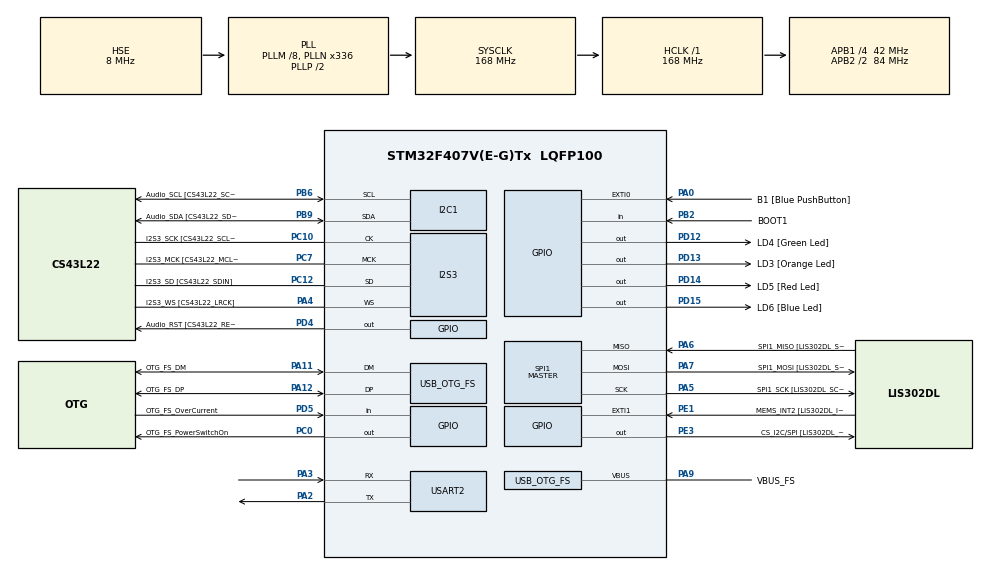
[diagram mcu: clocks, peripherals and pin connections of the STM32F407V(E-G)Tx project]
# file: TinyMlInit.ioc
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EdgeImpulse.STM32Guesture.1.0.2.MachineLearningCcSTM32GuestureJjCore=true
I2S3.AudioFreq-Half_Duplex_Master=I2S_AUDIOFREQ_96K
I2S3.ErrorAudioFreq=-2.34 %
I2S3.ErrorAudioFreq-Half_Duplex_Master=0.8 %
I2S3.FullDuplexMode=I2S_FULLDUPLEXMODE_DISABLE
I2S3.Instance=SPI$Index
I2S3.RealAudioFreq=93.75 KHz
I2S3.RealAudioFreq-Half_Duplex_Master=96.774 KHz
I2S3.VirtualMode=I2S_MODE_MASTER
Mcu.Family=STM32F4
Mcu.Name=STM32F407V(E-G)Tx
Mcu.Package=LQFP100
NVIC.OTG_FS_IRQn=true\:0\:0\:false\:false\:true\:true\:true\:true
NVIC.PriorityGroup=NVIC_PRIORITYGROUP_0
NVIC.USART2_IRQn=true\:0\:0\:false\:false\:true\:true\:true\:true
PA0-WKUP.GPIO_Label=B1 [Blue PushButton]
PA0-WKUP.GPIO_ModeDefaultEXTI=GPIO_MODE_EVT_RISING
PA0-WKUP.GPIO_PuPd=GPIO_NOPULL
PA0-WKUP.Signal=GPXTI0
PA10.GPIO_Label=OTG_FS_ID
PA10.GPIO_Mode=GPIO_MODE_AF_PP
PA10.GPIO_PuPd=GPIO_NOPULL
PA10.GPIO_Speed=GPIO_SPEED_FREQ_LOW
PA10.Signal=USB_OTG_FS_ID
PA11.GPIO_Label=OTG_FS_DM
PA11.GPIO_Mode=GPIO_MODE_AF_PP
PA11.GPIO_PuPd=GPIO_NOPULL
PA11.GPIO_Speed=GPIO_SPEED_FREQ_LOW
PA11.Mode=Host_Only
PA11.Signal=USB_OTG_FS_DM
PA12.GPIO_Label=OTG_FS_DP
PA12.GPIO_Mode=GPIO_MODE_AF_PP
PA12.GPIO_PuPd=GPIO_NOPULL
PA12.GPIO_Speed=GPIO_SPEED_FREQ_LOW
PA12.Mode=Host_Only
PA12.Signal=USB_OTG_FS_DP
PA13.GPIO_Label=SWDIO
PA13.Mode=Serial_Wire
PA13.Signal=SYS_JTMS-SWDIO
PA14.GPIO_Label=SWCLK
PA14.Mode=Serial_Wire
PA14.Signal=SYS_JTCK-SWCLK
PA2.Mode=Asynchronous
PA2.Signal=USART2_TX
PA3.Mode=Asynchronous
PA3.Signal=USART2_RX
PA4.GPIO_Label=I2S3_WS [CS43L22_LRCK]
PA4.GPIO_Mode=GPIO_MODE_AF_PP
PA4.GPIO_PuPd=GPIO_NOPULL
PA4.GPIO_Speed=GPIO_SPEED_FREQ_LOW
PA4.Mode=Half_Duplex_Master
PA4.Signal=I2S3_WS
PA5.GPIO_Label=SPI1_SCK [LIS302DL_SCL/SPC]
PA5.GPIO_Mode=GPIO_MODE_AF_PP
PA5.GPIO_PuPd=GPIO_NOPULL
PA5.GPIO_Speed=GPIO_SPEED_FREQ_LOW
PA5.Mode=Full_Duplex_Master
PA5.Signal=SPI1_SCK
PA6.GPIO_Label=SPI1_MISO [LIS302DL_SDO]
PA6.GPIO_Mode=GPIO_MODE_AF_PP
PA6.GPIO_PuPd=GPIO_NOPULL
PA6.GPIO_Speed=GPIO_SPEED_FREQ_LOW
PA6.Mode=Full_Duplex_Master
PA6.Signal=SPI1_MISO
PA7.GPIO_Label=SPI1_MOSI [LIS302DL_SDA/SDI/SDO]
PA7.GPIO_Mode=GPIO_MODE_AF_PP
PA7.GPIO_PuPd=GPIO_NOPULL
PA7.GPIO_Speed=GPIO_SPEED_FREQ_LOW
PA7.Mode=Full_Duplex_Master
PA7.Signal=SPI1_MOSI
PA9.GPIO_Label=VBUS_FS
PA9.GPIO_Mode=GPIO_MODE_INPUT
PA9.GPIO_PuPd=GPIO_NOPULL
PA9.Mode=Activate_VBUS
PA9.Signal=USB_OTG_FS_VBUS
PB10.GPIO_Label=CLK_IN [MP45DT02_CLK]
PB10.GPIO_Mode=GPIO_MODE_AF_PP
PB10.GPIO_PuPd=GPIO_NOPULL
PB10.GPIO_Speed=GPIO_SPEED_FREQ_LOW
PB10.Signal=I2S2_CK
PB2.GPIO_Label=BOOT1
PB2.GPIO_Mode=GPIO_MODE_INPUT
PB2.GPIO_PuPd=GPIO_NOPULL
PB2.Signal=GPIO_Input
PB3.GPIO_Label=SWO
PB3.Signal=SYS_JTDO-SWO
PB6.GPIO_Label=Audio_SCL [CS43L22_SCL]
PB6.GPIO_Mode=GPIO_MODE_AF_OD
PB6.GPIO_Pu=GPIO_PULLUP
PB6.GPIO_PuPd=GPIO_NOPULL
PB6.GPIO_Speed=GPIO_SPEED_FREQ_LOW
PB6.Mode=I2C
PB6.Signal=I2C1_SCL
PB9.GPIO_Label=Audio_SDA [CS43L22_SDA]
PB9.GPIO_Mode=GPIO_MODE_AF_OD
PB9.GPIO_Pu=GPIO_PULLUP
PB9.GPIO_PuPd=GPIO_NOPULL
PB9.GPIO_Speed=GPIO_SPEED_FREQ_LOW
PB9.Mode=I2C
PB9.Signal=I2C1_SDA
PC0.GPIO_Label=OTG_FS_PowerSwitchOn
PC0.GPIO_PuPd=GPIO_NOPULL
PC0.GPIO_Speed=GPIO_SPEED_FREQ_LOW
PC0.PinState=GPIO_PIN_SET
PC0.Signal=GPIO_Output
PC10.GPIO_Label=I2S3_SCK [CS43L22_SCLK]
PC10.GPIO_Mode=GPIO_MODE_AF_PP
PC10.GPIO_PuPd=GPIO_NOPULL
PC10.GPIO_Speed=GPIO_SPEED_FREQ_LOW
PC10.Mode=Half_Duplex_Master
PC10.Signal=I2S3_CK
PC12.GPIO_Label=I2S3_SD [CS43L22_SDIN]
PC12.GPIO_Mode=GPIO_MODE_AF_PP
PC12.GPIO_PuPd=GPIO_NOPULL
PC12.GPIO_Speed=GPIO_SPEED_FREQ_LOW
PC12.Mode=Half_Duplex_Master
PC12.Signal=I2S3_SD
PC14-OSC32_IN.GPIO_Label=PC14-OSC32_IN
PC14-OSC32_IN.Mode=LSE-External-Oscillator
PC14-OSC32_IN.Signal=RCC_OSC32_IN
PC15-OSC32_OUT.GPIO_Label=PC15-OSC32_OUT
PC15-OSC32_OUT.Mode=LSE-External-Oscillator
PC15-OSC32_OUT.Signal=RCC_OSC32_OUT
PC3.GPIO_Label=PDM_OUT [MP45DT02_DOUT]
PC3.GPIO_Mode=GPIO_MODE_AF_PP
PC3.GPIO_PuPd=GPIO_NOPULL
PC3.GPIO_Speed=GPIO_SPEED_FREQ_LOW
PC3.Signal=I2S2_SD
PC7.GPIO_Label=I2S3_MCK [CS43L22_MCLK]
PC7.GPIO_Mode=GPIO_MODE_AF_PP
PC7.GPIO_PuPd=GPIO_NOPULL
PC7.GPIO_Speed=GPIO_SPEED_FREQ_LOW
PC7.Mode=Master_Clock_Activated
PC7.Signal=I2S3_MCK
PD12.GPIO_Label=LD4 [Green Led]
PD12.GPIO_PuPd=GPIO_NOPULL
PD12.GPIO_Speed=GPIO_SPEED_FREQ_LOW
PD12.Signal=GPIO_Output
PD13.GPIO_Label=LD3 [Orange Led]
PD13.GPIO_PuPd=GPIO_NOPULL
PD13.GPIO_Speed=GPIO_SPEED_FREQ_LOW
PD13.Signal=GPIO_Output
PD14.GPIO_Label=LD5 [Red Led]
PD14.GPIO_PuPd=GPIO_NOPULL
PD14.GPIO_Speed=GPIO_SPEED_FREQ_LOW
PD14.Signal=GPIO_Output
PD15.GPIO_Label=LD6 [Blue Led]
PD15.GPIO_PuPd=GPIO_NOPULL
PD15.GPIO_Speed=GPIO_SPEED_FREQ_LOW
PD15.Signal=GPIO_Output
PD4.GPIO_Label=Audio_RST [CS43L22_RESET]
PD4.GPIO_PuPd=GPIO_NOPULL
PD4.GPIO_Speed=GPIO_SPEED_FREQ_LOW
PD4.Signal=GPIO_Output
PD5.GPIO_Label=OTG_FS_OverCurrent
PD5.GPIO_Mode=GPIO_MODE_INPUT
PD5.GPIO_PuPd=GPIO_NOPULL
PD5.Signal=GPIO_Input
PE1.GPIO_Label=MEMS_INT2 [LIS302DL_INT2]
PE1.GPIO_ModeDefaultEXTI=GPIO_MODE_EVT_RISING
PE1.GPIO_PuPd=GPIO_NOPULL
PE1.Signal=GPXTI1
PE3.GPIO_Label=CS_I2C/SPI [LIS302DL_CS_I2C/SPI]
PE3.GPIO_PuPd=GPIO_NOPULL
PE3.GPIO_Speed=GPIO_SPEED_FREQ_LOW
PE3.Signal=GPIO_Output
PH0-OSC_IN.GPIO_Label=PH0-OSC_IN
PH0-OSC_IN.Mode=HSE-External-Oscillator
PH0-OSC_IN.Signal=RCC_OSC_IN
PH1-OSC_OUT.GPIO_Label=PH1-OSC_OUT
PH1-OSC_OUT.Mode=HSE-External-Oscillator
PH1-OSC_OUT.Signal=RCC_OSC_OUT
ProjectManager.HeapSize=0x4000
ProjectManager.StackSize=0x8000
ProjectManager.TargetToolchain=STM32CubeIDE
RCC.48MHZClocksFreq_Value=48000000
RCC.AHBFreq_Value=168000000
RCC.APB1CLKDivider=RCC_HCLK_DIV4
RCC.APB1Freq_Value=42000000
RCC.APB1TimFreq_Value=84000000
RCC.APB2CLKDivider=RCC_HCLK_DIV2
RCC.APB2Freq_Value=84000000
RCC.APB2TimFreq_Value=168000000
RCC.CortexFreq_Value=168000000
RCC.HCLKFreq_Value=168000000
RCC.HSE_VALUE=8000000
RCC.HSI_VALUE=16000000
RCC.PLLM=8
RCC.PLLN=336
RCC.PLLQ=7
RCC.SYSCLKFreq_VALUE=168000000
RCC.SYSCLKSource=RCC_SYSCLKSOURCE_PLLCLK
RCC.VCOOutputFreq_Value=336000000
SPI1.BaudRatePrescaler-Full_Duplex_Master=SPI_BAUDRATEPRESCALER_2
SPI1.CalculateBaudRate-Full_Duplex_Master=42.0 MBits/s
SPI1.Direction=SPI_DIRECTION_2LINES
SPI1.Mode=SPI_MODE_MASTER
SPI1.Mode-Full_Duplex_Master=SPI_MODE_MASTER
SPI1.VirtualType=VM_MASTER
USART2.VirtualMode=VM_ASYNC
USB_HOST.BSP.number=1
USB_HOST.USBH_HandleTypeDef-CDC_FS=hUsbHostFS
USB_HOST.VirtualModeFS=Cdc
USB_HOST0.BSP.STBoard=false
USB_HOST0.BSP.api=Unknown
USB_HOST0.BSP.instance=PC0
USB_HOST0.BSP.ip=GPIO
USB_HOST0.BSP.mode=Output
USB_HOST0.BSP.name=Drive_VBUS_FS
USB_HOST0.BSP.solution=PC0
USB_OTG_FS.VirtualMode=Host_Only
USB_OTG_FS.phy_itface=HCD_PHY_EMBEDDED
VP_CRC_VS_CRC.Mode=CRC_Activate
VP_EdgeImpulse.STM32Guesture_VS_STM32GuestureJjMachineLearning_1.0.2_1.0.2.Mode=STM32GuestureJjMachineLearning
VP_USB_HOST_VS_USB_HOST_CDC_FS.Mode=CDC_FS
board=STM32F407G-DISC1

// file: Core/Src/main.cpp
/* USER CODE BEGIN Header */
/**
  ******************************************************************************
  * @file           : main.c
  * @brief          : Main program body
  ******************************************************************************
  * @attention
  *
  * Copyright (c) 2025 STMicroelectronics.
  * All rights reserved.
  *
  * This software is licensed under terms that can be found in the LICENSE file
  * in the root directory of this software component.
  * If no LICENSE file comes with this software, it is provided AS-IS.
  *
  ******************************************************************************
  */
/* USER CODE END Header */
#include "main.h"
#include "usb_host.h"

/* USER CODE BEGIN Includes */
#include <stdarg.h>
#include "edge-impulse-sdk/classifier/ei_run_classifier.h"

using namespace ei;

// paste the raw features here
static const float features[] = { -40.9800, -40.8900, 107.1500, -44.7600, -43.9100, 110.8100, -37.5900,
		-41.4700, 107.1800, -39.4200, -42.7200, 109.5900, -38.0800, -41.7700, 110.6600, -35.2400, -44.3400,
		107.1500, -43.8500, -45.8300, 111.2700, -36.5200, -44.5800, 110.8700, -45.1600, -48.0900, 114.9600,
		-37.1600, -46.6600, 114.6300, -39.9100, -46.6000, 116.1800, -31.6000, -45.3100, 112.2400, -38.4400,
		-46.8100, 115.7900, -44.1800, -50.4700, 119.0200, -52.8200, -51.5100, 121.5000, -53.7400, -53.0100,
		123.8500, -49.6800, -49.1000, 121.9800, -46.6900, -46.6000, 121.9200, -53.9200, -46.7800, 122.3800,
		-51.1500, -44.4000, 127.1800, -35.8500, -40.0900, 121.5300, -48.0300, -35.3600, 120.2400, -55.4200,
		-46.2000, 128.8500, -60.3700, -50.3200, 126.9000, -41.5300, -43.7600, 134.3500, -13.5300, -28.0000,
		120.0600, 4.1200, -20.7900, 115.3300, 18.7800, -21.3700, 112.5500, 36.5200, -22.4700, 109.4700, 40.9500,
		-26.5600, 113.3700, 50.8400, -26.0200, 111.5700, 74.3500, -17.4400, 106.3500, 130.5300, 3.4800, 92.6100,
		141.2200, 19.0800, 75.0500, 117.7100, 14.0500, 69.6800, 121.0700, 13.3700, 73.7700, 60.1800, -29.7400,
		64.7000, 10.1100, -52.2700, 71.7600, 5.7100, -61.7700, 62.7500, -45.1900, -69.5300, 65.5600, -98.9900,
		-76.7900, 67.9400, -117.8600, -65.5600, 76.4600, -152.3400, -70.0800, 88.7600, -167.1100, -62.7200, 94.9300,
		-177.8600, -57.1900, 101.1600, -194.1700, -58.0200, 114.0800, -199.4500, -64.7000, 116.5800, -195.6000, -77.9200,
		117.0100, -185.5300, -93.7400, 124.5800, -159.8800, -99.6000, 115.4200, -157.3700, -99.1800, 106.1100, -162.2000,
		-99.2100, 111.7600, -181.3100, -101.5000, 120.3700, -153.6200, -91.5400, 120.6100, -134.5600, -86.2300, 102.9600,
		-116.9800, -76.9500, 102.5000, -87.6300, -58.1700, 88.7600, -59.8800, -43.8500, 81.1600, -55.6900, -26.5300,
		78.7200, -19.3900, -8.1200, 74.0800, 14.4400, 6.9900, 73.0400, 45.8300, 14.3200, 72.8900, 66.8700, 16.7600,
		72.2700, 89.4700, 10.7800, 78.1400, 102.3800, -2.8400, 77.6500, 119.8200, 6.3500, 78.4400, 160.3100, 20.3400,
		64.7900, 189.8900, 25.8300, 57.1300, 154.6000, 31.2100, 48.4300, 125.9500, 5.1600, 54.8700, 85.1900, -24.1800,
		54.6300, 46.2300, -43.0800, 49.3100, 4.6400, -69.5900, 47.9700, -56.5200, -95.0800, 66.5300, -92.1500, -107.5100,
		71.8800, -124.8200, -104.6400, 81.2200, -145.7100, -84.2700, 83.0800, -170.3500, -66.7800, 84.4600, -199.1100,
		-52.5200, 96.0300, -220.8200, -46.1700, 106.0500, -231.9100, -46.5300, 116.0900, -224.0000, -46.0800, 112.4300,
		-198.5000, -51.3000, 106.9600, -164.3100, -53.7700, 101.7400, -144.1200, -55.1800, 98.7200, -126.3500, -58.9000,
		98.1700, -114.4700, -62.0500, 99.2700, -111.6300, -65.3700, 100.4900, -106.5300, -66.2600, 99.8200, -102.0200,
		-62.1700, 101.7700, -81.0400, -52.2400, 96.0000, -78.6600, -43.8500, 93.4700, -76.3400, -40.8500, 91.4200,
		-72.0300, -43.8500, 96.1800, -76.5200, -43.6900, 95.2700, -74.6900, -43.6600, 101.6800, -62.2900, -42.1400,
		100.6400, -54.5600, -36.5800, 96.7000, -61.7100, -40.3400, 101.4000, -58.7200, -41.9200, 103.5400, -43.1800,
		-42.2000, 103.5700, -37.9200, -36.4900, 100.3700, -36.1200, -38.7200, 101.8000, -36.5800, -37.5300, 106.2900,
		-26.1700, -37.8300, 103.6900, -25.8000, -38.3500, 104.1800, -36.5200, -44.7300, 107.1500, -25.0400, -42.4400,
		108.4900, -20.4300, -44.3700, 107.3300, -22.7200, -46.9000, 105.5900, -24.5500, -49.6500, 108.3700, -26.3500,
		-51.1500, 110.8400, -26.7200, -50.6900, 112.0900, -30.9300, -53.0400, 112.8200, -31.3600, -53.5000, 113.7100,
		-31.6300, -52.3100, 112.1500, -30.9300, -49.5900, 111.4500, -32.8900, -44.9200, 112.9200, -35.6300, -44.6700,
		113.0700, -38.4400, -44.5500, 113.0100, -39.1500, -46.4100, 112.5800, -41.3700, -44.9200, 112.4000, -45.0700,
		-45.9500, 113.3100, -46.5000, -46.9000, 113.8300, -53.4400, -47.6600, 115.5700, -53.6800, -46.6300, 116.1800,
		-48.7000, -43.2100, 114.2600, -49.0700, -45.5600, 113.7100, -45.5300, -45.3100, 114.0800, -45.8900, -43.8500,
		113.5000, -45.3100, -43.6900, 112.9200, -44.3400, -43.7900, 112.5200, -49.6800, -48.3100, 114.4400, -47.9400,
		-47.6600, 113.4400, -49.5900, -47.2700, 113.3400, -48.8900, -47.6300, 114.0200, -50.5300, -47.6600, 114.0800,
		-50.9300, -46.6600, 115.1100, -50.9300, -44.7900, 114.7200, -55.3000, -47.8500, 114.1400, -51.2400, -46.2600,
		114.2000, -47.9100, -45.8000, 112.5800, -47.6000, -46.1400, 113.1600, -48.7300, -46.9600, 112.9200, -47.2700,
		-47.8800, 114.0500, -44.4000, -46.3200, 112.4300, -46.9600, -48.0000, 112.4600, -52.5500, -50.0800, 113.4000,
		-47.4800, -47.6300, 111.7900, -48.3700, -50.1100, 112.7900, -47.4500, -51.5400, 112.1800, -47.7300, -51.5700,
		112.1200, -45.2200, -52.3700, 111.7600, -44.2100, -52.4000, 110.7800, -46.7800, -52.6700, 109.3100, -51.2700,
		-52.4000, 110.7200, -49.1600, -49.9500, 109.1900, -51.2700, -49.5900, 109.9800, -50.8400, -48.7000, 110.0800,
		-52.0900, -51.5100, 109.5600, -51.0500, -51.8800, 108.9800, -50.4400, -51.8800, 108.9200, -50.8100, -51.4800,
		107.7300, -48.8500, -49.1300, 107.8200, -48.9500, -49.3400, 105.5900, -49.1300, -49.4400, 105.1300, -47.0200,
		-49.6200, 104.0300, -47.3300, -50.6600, 103.5400, -48.1500, -53.1000, 102.6900, -49.5000, -52.8500, 102.2000,
		-47.5400, -51.3600, 98.6600, -54.3800, -54.0200, 100.1800, -49.4000, -51.1800, 98.1400, -47.7300, -49.6500, 97.5900,
		-44.0000, -50.8100, 96.8500, -43.1800, -53.7100, 96.1200, -40.5200, -52.2700, 96.0600, -40.4600, -52.0000, 95.0800,
		-40.2400, -52.3100, 96.8200, -43.3300, -53.2200, 96.3700, -42.8100, -53.4400, 97.1000, -43.9700, -53.0400, 97.5900,
		-37.1300, -48.2100, 97.9200, -42.0800, -49.3700, 101.2500, -40.9800, -48.2100, 101.2500, -46.3200, -50.3200, 106.6900,
		-45.5900, -50.8400, 107.4800, -47.0200, -50.4400, 108.2700, -48.9200, -52.0900, 109.8000, -47.8800, -50.2900,
		110.6000, -48.8200, -49.7700, 110.9000, -51.5100, -49.5600, 111.2400, -50.4700, -49.9200, 110.9000, -56.7000,
		-51.6900, 112.6700, -60.4000, -52.0600, 114.4700, -57.2200, -50.7500, 115.4800, -54.2000, -47.3900, 115.0500,
		-54.2600, -44.8200, 114.7800, -58.6600, -45.1000, 115.4500, -66.3500, -46.1700, 116.1200, -66.8100, -42.9900,
		116.6100, -67.9700, -39.7300, 115.2400, -65.7700, -36.8500, 115.6000, -61.2500, -35.5100, 115.1500, -56.7300,
		-32.6100, 114.0800, -54.7800, -30.4400, 113.5000, -52.1800, -29.7400, 112.7000, -50.7500, -31.4800, 113.2800,
		-51.4200, -29.3400, 113.1900, -50.8700, -29.6500, 113.7700, -59.2700, -33.4400, 115.6300, -64.9500, -35.2700,
		117.6200, -66.9300, -35.2100, 119.2400, -66.2300, -33.2200, 119.3600, -59.7600, -30.1700, 119.3300, -60.8900,
		-27.7600, 118.1700, -57.8900, -26.3200, 117.5300, -49.6500, -20.8900, 117.6500, -49.9200, -17.8900, 118.9000,
		-49.9200, -14.1700, 119.4800, -51.9400, -14.9000, 121.7400, -58.0500, -19.6600, 125.2500
};

int get_feature_data(size_t offset, size_t length, float *out_ptr) {
    memcpy(out_ptr, features + offset, length * sizeof(float));
    return 0;
}

/* USER CODE END Includes */

CRC_HandleTypeDef hcrc;

I2C_HandleTypeDef hi2c1;

I2S_HandleTypeDef hi2s3;

SPI_HandleTypeDef hspi1;

UART_HandleTypeDef huart2;

void SystemClock_Config(void);
static void MX_GPIO_Init(void);
static void MX_I2C1_Init(void);
static void MX_I2S3_Init(void);
static void MX_SPI1_Init(void);
static void MX_CRC_Init(void);
void MX_USB_HOST_Process(void);
void MX_USART2_UART_Init(void);

/* USER CODE BEGIN 0 */

void vprint(const char *fmt, va_list argp)
{
    char string[200];
    if(0 < vsprintf(string, fmt, argp)) // build string
    {
        HAL_UART_Transmit(&huart2, (uint8_t*)string, strlen(string), 0xffffff); // send message via UART
    }
}

void ei_printf(const char *format, ...) {
    va_list myargs;
    va_start(myargs, format);
    vprint(format, myargs);
    va_end(myargs);
}

/* USER CODE END 0 */

int main(void)
{

  /* MCU Configuration--------------------------------------------------------*/

  /* Reset of all peripherals, Initializes the Flash interface and the Systick. */
  HAL_Init();

  /* USER CODE BEGIN Init */
  signal_t signal;
  signal.total_length = sizeof(features) / sizeof(features[0]);
  signal.get_data = &get_feature_data;

  /* USER CODE END Init */

  /* Configure the system clock */
  SystemClock_Config();

  /* Initialize all configured peripherals */
  MX_GPIO_Init();
  MX_I2C1_Init();
  MX_I2S3_Init();
  MX_SPI1_Init();
  MX_USB_HOST_Init();
  MX_CRC_Init();
  /* USER CODE BEGIN 2 */
  // Configure PA3(RX) and PA2(TX) for USART2
    MX_USART2_UART_Init();
  /* USER CODE END 2 */

    // Buffer to send through UART
    char msg[128];
    snprintf(msg, sizeof(msg), "Setup successfull\r\n");

    HAL_UART_Transmit(&huart2, (uint8_t*)msg, strlen(msg), 100);
  /* Infinite loop */
  while (1)
  {
    //MX_USB_HOST_Process();
	  ei_impulse_result_t result = { 0 };
	       EI_IMPULSE_ERROR res = run_classifier(&signal, &result, true);
	       ei_printf("run_classifier returned: %d\n", res);

	       ei_printf("Predictions (DSP: %d ms., Classification: %d ms., Anomaly: %d ms.): \n",
	           result.timing.dsp, result.timing.classification, result.timing.anomaly);

	       // print the predictions
	       ei_printf("[");
	       for (size_t ix = 0; ix < EI_CLASSIFIER_LABEL_COUNT; ix++) {
	     	  ei_printf_float(result.classification[ix].value);
	   #if EI_CLASSIFIER_HAS_ANOMALY == 1
	           ei_printf(", ");
	   #else
	           if (ix != EI_CLASSIFIER_LABEL_COUNT - 1) {
	               ei_printf(", ");
	           }
	   #endif
	       }
	   #if EI_CLASSIFIER_HAS_ANOMALY == 1
	       ei_printf_float(result.anomaly);
	   #endif
	       ei_printf("]\n\n\n");

	     HAL_Delay(5000);

  }
}

void SystemClock_Config(void)
{
  RCC_OscInitTypeDef RCC_OscInitStruct = {0};
  RCC_ClkInitTypeDef RCC_ClkInitStruct = {0};

  /** Configure the main internal regulator output voltage
  */
  __HAL_RCC_PWR_CLK_ENABLE();
  __HAL_PWR_VOLTAGESCALING_CONFIG(PWR_REGULATOR_VOLTAGE_SCALE1);

  /** Initializes the RCC Oscillators according to the specified parameters
  * in the RCC_OscInitTypeDef structure.
  */
  RCC_OscInitStruct.OscillatorType = RCC_OSCILLATORTYPE_HSE;
  RCC_OscInitStruct.HSEState = RCC_HSE_ON;
  RCC_OscInitStruct.PLL.PLLState = RCC_PLL_ON;
  RCC_OscInitStruct.PLL.PLLSource = RCC_PLLSOURCE_HSE;
  RCC_OscInitStruct.PLL.PLLM = 8;
  RCC_OscInitStruct.PLL.PLLN = 336;
  RCC_OscInitStruct.PLL.PLLP = RCC_PLLP_DIV2;
  RCC_OscInitStruct.PLL.PLLQ = 7;
  if (HAL_RCC_OscConfig(&RCC_OscInitStruct) != HAL_OK)
  {
    Error_Handler();
  }

  /** Initializes the CPU, AHB and APB buses clocks
  */
  RCC_ClkInitStruct.ClockType = RCC_CLOCKTYPE_HCLK|RCC_CLOCKTYPE_SYSCLK
                              |RCC_CLOCKTYPE_PCLK1|RCC_CLOCKTYPE_PCLK2;
  RCC_ClkInitStruct.SYSCLKSource = RCC_SYSCLKSOURCE_PLLCLK;
  RCC_ClkInitStruct.AHBCLKDivider = RCC_SYSCLK_DIV1;
  RCC_ClkInitStruct.APB1CLKDivider = RCC_HCLK_DIV4;
  RCC_ClkInitStruct.APB2CLKDivider = RCC_HCLK_DIV2;

  if (HAL_RCC_ClockConfig(&RCC_ClkInitStruct, FLASH_LATENCY_5) != HAL_OK)
  {
    Error_Handler();
  }
}

static void MX_CRC_Init(void)
{

  hcrc.Instance = CRC;
  if (HAL_CRC_Init(&hcrc) != HAL_OK)
  {
    Error_Handler();
  }

}

static void MX_I2C1_Init(void)
{

  hi2c1.Instance = I2C1;
  hi2c1.Init.ClockSpeed = 100000;
  hi2c1.Init.DutyCycle = I2C_DUTYCYCLE_2;
  hi2c1.Init.OwnAddress1 = 0;
  hi2c1.Init.AddressingMode = I2C_ADDRESSINGMODE_7BIT;
  hi2c1.Init.DualAddressMode = I2C_DUALADDRESS_DISABLE;
  hi2c1.Init.OwnAddress2 = 0;
  hi2c1.Init.GeneralCallMode = I2C_GENERALCALL_DISABLE;
  hi2c1.Init.NoStretchMode = I2C_NOSTRETCH_DISABLE;
  if (HAL_I2C_Init(&hi2c1) != HAL_OK)
  {
    Error_Handler();
  }

}

static void MX_I2S3_Init(void)
{

  hi2s3.Instance = SPI3;
  hi2s3.Init.Mode = I2S_MODE_MASTER_TX;
  hi2s3.Init.Standard = I2S_STANDARD_PHILIPS;
  hi2s3.Init.DataFormat = I2S_DATAFORMAT_16B;
  hi2s3.Init.MCLKOutput = I2S_MCLKOUTPUT_ENABLE;
  hi2s3.Init.AudioFreq = I2S_AUDIOFREQ_96K;
  hi2s3.Init.CPOL = I2S_CPOL_LOW;
  hi2s3.Init.ClockSource = I2S_CLOCK_PLL;
  hi2s3.Init.FullDuplexMode = I2S_FULLDUPLEXMODE_DISABLE;
  if (HAL_I2S_Init(&hi2s3) != HAL_OK)
  {
    Error_Handler();
  }

}

static void MX_SPI1_Init(void)
{

  /* SPI1 parameter configuration*/
  hspi1.Instance = SPI1;
  hspi1.Init.Mode = SPI_MODE_MASTER;
  hspi1.Init.Direction = SPI_DIRECTION_2LINES;
  hspi1.Init.DataSize = SPI_DATASIZE_8BIT;
  hspi1.Init.CLKPolarity = SPI_POLARITY_LOW;
  hspi1.Init.CLKPhase = SPI_PHASE_1EDGE;
  hspi1.Init.NSS = SPI_NSS_SOFT;
  hspi1.Init.BaudRatePrescaler = SPI_BAUDRATEPRESCALER_2;
  hspi1.Init.FirstBit = SPI_FIRSTBIT_MSB;
  hspi1.Init.TIMode = SPI_TIMODE_DISABLE;
  hspi1.Init.CRCCalculation = SPI_CRCCALCULATION_DISABLE;
  hspi1.Init.CRCPolynomial = 10;
  if (HAL_SPI_Init(&hspi1) != HAL_OK)
  {
    Error_Handler();
  }

}

static void MX_GPIO_Init(void)
{
  GPIO_InitTypeDef GPIO_InitStruct = {0};

  /* GPIO Ports Clock Enable */
  __HAL_RCC_GPIOE_CLK_ENABLE();
  __HAL_RCC_GPIOC_CLK_ENABLE();
  __HAL_RCC_GPIOH_CLK_ENABLE();
  __HAL_RCC_GPIOA_CLK_ENABLE();
  __HAL_RCC_GPIOB_CLK_ENABLE();
  __HAL_RCC_GPIOD_CLK_ENABLE();

  /*Configure GPIO pin Output Level */
  HAL_GPIO_WritePin(CS_I2C_SPI_GPIO_Port, CS_I2C_SPI_Pin, GPIO_PIN_RESET);

  /*Configure GPIO pin Output Level */
  HAL_GPIO_WritePin(OTG_FS_PowerSwitchOn_GPIO_Port, OTG_FS_PowerSwitchOn_Pin, GPIO_PIN_SET);

  /*Configure GPIO pin Output Level */
  HAL_GPIO_WritePin(GPIOD, LD4_Pin|LD3_Pin|LD5_Pin|LD6_Pin
                          |Audio_RST_Pin, GPIO_PIN_RESET);

  /*Configure GPIO pin : CS_I2C_SPI_Pin */
  GPIO_InitStruct.Pin = CS_I2C_SPI_Pin;
  GPIO_InitStruct.Mode = GPIO_MODE_OUTPUT_PP;
  GPIO_InitStruct.Pull = GPIO_NOPULL;
  GPIO_InitStruct.Speed = GPIO_SPEED_FREQ_LOW;
  HAL_GPIO_Init(CS_I2C_SPI_GPIO_Port, &GPIO_InitStruct);

  /*Configure GPIO pin : OTG_FS_PowerSwitchOn_Pin */
  GPIO_InitStruct.Pin = OTG_FS_PowerSwitchOn_Pin;
  GPIO_InitStruct.Mode = GPIO_MODE_OUTPUT_PP;
  GPIO_InitStruct.Pull = GPIO_NOPULL;
  GPIO_InitStruct.Speed = GPIO_SPEED_FREQ_LOW;
  HAL_GPIO_Init(OTG_FS_PowerSwitchOn_GPIO_Port, &GPIO_InitStruct);

  /*Configure GPIO pin : PDM_OUT_Pin */
  GPIO_InitStruct.Pin = PDM_OUT_Pin;
  GPIO_InitStruct.Mode = GPIO_MODE_AF_PP;
  GPIO_InitStruct.Pull = GPIO_NOPULL;
  GPIO_InitStruct.Speed = GPIO_SPEED_FREQ_LOW;
  GPIO_InitStruct.Alternate = GPIO_AF5_SPI2;
  HAL_GPIO_Init(PDM_OUT_GPIO_Port, &GPIO_InitStruct);

  /*Configure GPIO pin : B1_Pin */
  GPIO_InitStruct.Pin = B1_Pin;
  GPIO_InitStruct.Mode = GPIO_MODE_EVT_RISING;
  GPIO_InitStruct.Pull = GPIO_NOPULL;
  HAL_GPIO_Init(B1_GPIO_Port, &GPIO_InitStruct);

  /*Configure GPIO pin : BOOT1_Pin */
  GPIO_InitStruct.Pin = BOOT1_Pin;
  GPIO_InitStruct.Mode = GPIO_MODE_INPUT;
  GPIO_InitStruct.Pull = GPIO_NOPULL;
  HAL_GPIO_Init(BOOT1_GPIO_Port, &GPIO_InitStruct);

  /*Configure GPIO pin : CLK_IN_Pin */
  GPIO_InitStruct.Pin = CLK_IN_Pin;
  GPIO_InitStruct.Mode = GPIO_MODE_AF_PP;
  GPIO_InitStruct.Pull = GPIO_NOPULL;
  GPIO_InitStruct.Speed = GPIO_SPEED_FREQ_LOW;
  GPIO_InitStruct.Alternate = GPIO_AF5_SPI2;
  HAL_GPIO_Init(CLK_IN_GPIO_Port, &GPIO_InitStruct);

  /*Configure GPIO pins : LD4_Pin LD3_Pin LD5_Pin LD6_Pin
                           Audio_RST_Pin */
  GPIO_InitStruct.Pin = LD4_Pin|LD3_Pin|LD5_Pin|LD6_Pin
                          |Audio_RST_Pin;
  GPIO_InitStruct.Mode = GPIO_MODE_OUTPUT_PP;
  GPIO_InitStruct.Pull = GPIO_NOPULL;
  GPIO_InitStruct.Speed = GPIO_SPEED_FREQ_LOW;
  HAL_GPIO_Init(GPIOD, &GPIO_InitStruct);

  /*Configure GPIO pin : OTG_FS_OverCurrent_Pin */
  GPIO_InitStruct.Pin = OTG_FS_OverCurrent_Pin;
  GPIO_InitStruct.Mode = GPIO_MODE_INPUT;
  GPIO_InitStruct.Pull = GPIO_NOPULL;
  HAL_GPIO_Init(OTG_FS_OverCurrent_GPIO_Port, &GPIO_InitStruct);

  /*Configure GPIO pin : MEMS_INT2_Pin */
  GPIO_InitStruct.Pin = MEMS_INT2_Pin;
  GPIO_InitStruct.Mode = GPIO_MODE_EVT_RISING;
  GPIO_InitStruct.Pull = GPIO_NOPULL;
  HAL_GPIO_Init(MEMS_INT2_GPIO_Port, &GPIO_InitStruct);

}

/* USER CODE BEGIN 4 */
// UART Initialization (USART2 for USB output)
void MX_USART2_UART_Init(void) {
    __HAL_RCC_USART2_CLK_ENABLE();
    __HAL_RCC_GPIOA_CLK_ENABLE();

    GPIO_InitTypeDef GPIO_InitStruct = {0};

    // PA2 (TX) and PA3 (RX) in AF mode
    GPIO_InitStruct.Pin = GPIO_PIN_2 | GPIO_PIN_3;
    GPIO_InitStruct.Mode = GPIO_MODE_AF_PP;
    GPIO_InitStruct.Pull = GPIO_PULLUP;
    GPIO_InitStruct.Speed = GPIO_SPEED_FREQ_VERY_HIGH;
    GPIO_InitStruct.Alternate = GPIO_AF7_USART2;
    HAL_GPIO_Init(GPIOA, &GPIO_InitStruct);

    // Configure UART
    huart2.Instance = USART2;
    huart2.Init.BaudRate = 115200;
    huart2.Init.WordLength = UART_WORDLENGTH_8B;
    huart2.Init.StopBits = UART_STOPBITS_1;
    huart2.Init.Parity = UART_PARITY_NONE;
    huart2.Init.Mode = UART_MODE_TX_RX;
    huart2.Init.HwFlowCtl = UART_HWCONTROL_NONE;
    huart2.Init.OverSampling = UART_OVERSAMPLING_16;

    if (HAL_UART_Init(&huart2) != HAL_OK)
    	Error_Handler();
}
/* USER CODE END 4 */

void Error_Handler(void)
{
  __disable_irq();
  while (1)
  {
  }
}
